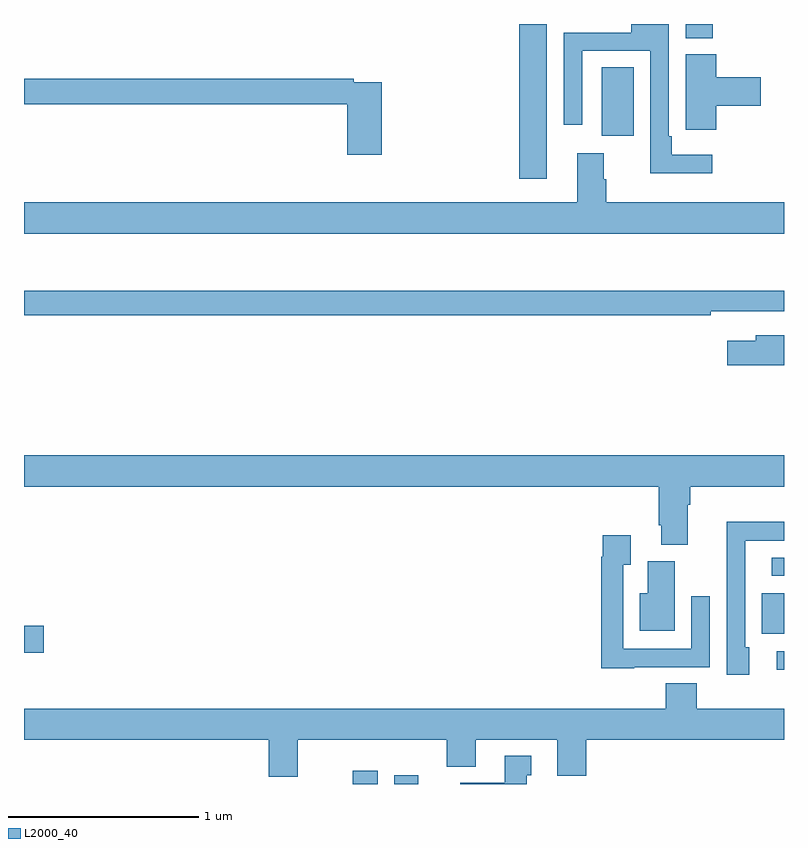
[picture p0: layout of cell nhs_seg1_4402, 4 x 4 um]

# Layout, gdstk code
import gdstk
lib = gdstk.Library(unit=1e-6, precision=1e-09)
def R(c, l, rs):  # rectangles x0, y0, x1, y1
    for r in rs: c.add(gdstk.rectangle(r[:2], r[2:], *l))
def P(c, l, *ps):  # polygons
    for p in ps: c.add(gdstk.Polygon(p, *l))
L2000_40 = (2000, 40)

nhs_seg1_4402 = lib.new_cell('nhs_seg1_4402')
R(nhs_seg1_4402, L2000_40, [(352.73,518.199,352.861,518.269), (352.949,518.199,353.074,518.245), (354.963,518.801,355,518.898), (351,518.89,351.103,519.032), (354.884,518.991,355,519.202), (354.936,519.294,355,519.39), (353.606,521.385,353.752,522.199), (354.041,521.61,354.208,521.972), (354.482,522.124,354.626,522.199)])
P(nhs_seg1_4402, L2000_40, [(354.622,521.512),(354.409,521.512),(354.409,521.608),(354.393,521.608),(354.393,522.199),(354.197,522.199),(354.197,522.153),(353.841,522.153),(353.841,521.67),(353.937,521.67),(353.937,522.057),(354.297,522.057),(354.297,521.414),(354.622,521.414)],
  [(354.644,521.77),(354.877,521.77),(354.877,521.918),(354.644,521.918),(354.644,522.039),(354.482,522.039),(354.482,521.755),(354.483,521.755),(354.483,521.643),(354.644,521.643)],
  [(352.883,521.892),(352.736,521.892),(352.736,521.912),(351,521.912),(351,521.776),(352.7,521.776),(352.7,521.511),(352.883,521.511)],
  [(355,521.26),(354.065,521.26),(354.065,521.381),(354.052,521.381),(354.052,521.518),(353.912,521.518),(353.912,521.26),(351,521.26),(351,521.096),(355,521.096)],
  [(354.614,520.686),(355,520.686),(355,520.795),(351,520.795),(351,520.666),(354.614,520.666)],
  [(355,520.56),(354.851,520.56),(354.851,520.531),(354.702,520.531),(354.702,520.402),(355,520.402)],
  [(354.493,519.668),(354.506,519.668),(354.506,519.764),(355,519.764),(355,519.928),(351,519.928),(351,519.764),(354.341,519.764),(354.341,519.562),(354.353,519.562),(354.353,519.457),(354.493,519.457)],
  [(354.817,518.919),(354.795,518.919),(354.795,519.48),(355,519.48),(355,519.578),(354.698,519.578),(354.698,519.274),(354.699,519.274),(354.699,518.775),(354.817,518.775)],
  [(354.213,518.814),(354.609,518.814),(354.609,519.187),(354.513,519.187),(354.513,518.91),(354.153,518.91),(354.153,519.352),(354.193,519.352),(354.193,519.508),(354.045,519.508),(354.045,519.395),(354.037,519.395),(354.037,518.807),(354.213,518.807)],
  [(354.424,519.371),(354.284,519.371),(354.284,519.202),(354.242,519.202),(354.242,519.005),(354.424,519.005)],
  [(352.441,518.432),(353.225,518.432),(353.225,518.291),(353.377,518.291),(353.377,518.432),(353.807,518.432),(353.807,518.243),(353.96,518.243),(353.96,518.432),(355,518.432),(355,518.596),(354.542,518.596),(354.542,518.729),(354.377,518.729),(354.377,518.596),(351,518.596),(351,518.432),(352.289,518.432),(352.289,518.238),(352.441,518.238)],
  [(353.647,518.244),(353.671,518.244),(353.671,518.347),(353.531,518.347),(353.531,518.206),(353.296,518.206),(353.296,518.199),(353.647,518.199)])

lib.write_gds('nhs_seg1_4402.gds')
